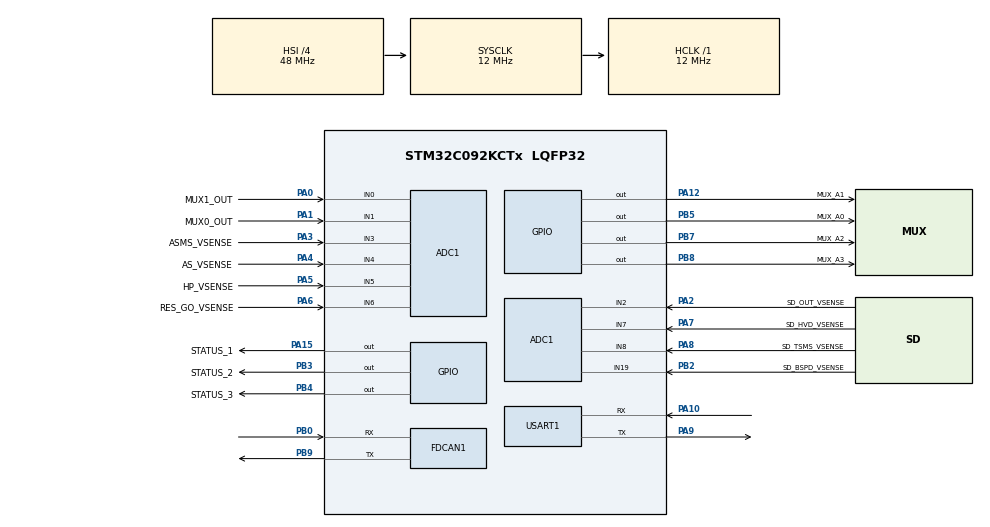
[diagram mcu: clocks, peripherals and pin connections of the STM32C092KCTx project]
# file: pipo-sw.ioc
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ADC1.ContinuousConvMode=DISABLE
ADC1.DMAContinuousRequests=DISABLE
ADC1.NbrOfConversionFlag=0
ADC1.OversamplingMode=ENABLE
ADC1.Ratio=ADC_OVERSAMPLING_RATIO_8
ADC1.RightBitShift=ADC_RIGHTBITSHIFT_3
ADC1.SamplingTimeCommon1=ADC_SAMPLETIME_7CYCLES_5
ADC1.SelectedChannel=ADC_CHANNEL_0|ADC_CHANNEL_1|ADC_CHANNEL_2|ADC_CHANNEL_3|ADC_CHANNEL_4|ADC_CHANNEL_5|ADC_CHANNEL_6|ADC_CHANNEL_7|ADC_CHANNEL_8|ADC_CHANNEL_19
ADC1.master=1
Dma.ADC1.0.Direction=DMA_PERIPH_TO_MEMORY
Dma.ADC1.0.EventEnable=DISABLE
Dma.ADC1.0.Instance=DMA1_Channel1
Dma.ADC1.0.MemDataAlignment=DMA_MDATAALIGN_HALFWORD
Dma.ADC1.0.MemInc=DMA_MINC_ENABLE
Dma.ADC1.0.Mode=DMA_CIRCULAR
Dma.ADC1.0.PeriphDataAlignment=DMA_PDATAALIGN_HALFWORD
Dma.ADC1.0.PeriphInc=DMA_PINC_DISABLE
Dma.ADC1.0.Polarity=HAL_DMAMUX_REQ_GEN_RISING
Dma.ADC1.0.Priority=DMA_PRIORITY_LOW
Dma.ADC1.0.RequestNumber=1
Dma.ADC1.0.SignalID=NONE
Dma.ADC1.0.SyncEnable=DISABLE
Dma.ADC1.0.SyncPolarity=HAL_DMAMUX_SYNC_NO_EVENT
Dma.ADC1.0.SyncRequestNumber=1
Dma.ADC1.0.SyncSignalID=NONE
Dma.Request0=ADC1
FDCAN1.CalculateBaudRateNominal=250000
FDCAN1.CalculateTimeBitNominal=4000
FDCAN1.CalculateTimeQuantumNominal=1333.3333333333333
Mcu.Family=STM32C0
Mcu.Name=STM32C092KCTx
Mcu.Package=LQFP32
NVIC.DMA1_Channel1_IRQn=true\:0\:0\:false\:false\:true\:false\:true\:true
NVIC.TIM1_BRK_UP_TRG_COM_IRQn=true\:0\:0\:false\:false\:true\:true\:true\:true
PA0.GPIO_Label=MUX1_OUT
PA0.Mode=IN0
PA0.Signal=ADC1_IN0
PA1.GPIO_Label=MUX0_OUT
PA1.Mode=IN1
PA1.Signal=ADC1_IN1
PA10.Mode=Asynchronous
PA10.Signal=USART1_RX
PA12\ [PA10].GPIO_Label=MUX_A1
PA12\ [PA10].Signal=GPIO_Output
PA13.Mode=Serial_Wire
PA13.Signal=DEBUG_SWDIO
PA14-BOOT0.Mode=Serial_Wire
PA14-BOOT0.Signal=DEBUG_SWCLK
PA15.GPIO_Label=STATUS_1
PA15.Signal=GPIO_Output
PA2.GPIO_Label=SD_OUT_VSENSE
PA2.Mode=IN2
PA2.Signal=ADC1_IN2
PA3.GPIO_Label=ASMS_VSENSE
PA3.Mode=IN3
PA3.Signal=ADC1_IN3
PA4.GPIO_Label=AS_VSENSE
PA4.Mode=IN4
PA4.Signal=ADC1_IN4
PA5.GPIO_Label=HP_VSENSE
PA5.Mode=IN5
PA5.Signal=ADC1_IN5
PA6.GPIO_Label=RES_GO_VSENSE
PA6.Mode=IN6
PA6.Signal=ADC1_IN6
PA7.GPIO_Label=SD_HVD_VSENSE
PA7.Mode=IN7
PA7.Signal=ADC1_IN7
PA8.GPIO_Label=SD_TSMS_VSENSE
PA8.Mode=IN8
PA8.Signal=ADC1_IN8
PA9.Mode=Asynchronous
PA9.Signal=USART1_TX
PB0.Mode=FDCAN_Activate
PB0.Signal=FDCAN1_RX
PB2.GPIO_Label=SD_BSPD_VSENSE
PB2.Mode=IN19
PB2.Signal=ADC1_IN19
PB3.GPIO_Label=STATUS_2
PB3.Signal=GPIO_Output
PB4.GPIO_Label=STATUS_3
PB4.Signal=GPIO_Output
PB5.GPIO_Label=MUX_A0
PB5.Signal=GPIO_Output
PB7.GPIO_Label=MUX_A2
PB7.Signal=GPIO_Output
PB8.GPIO_Label=MUX_A3
PB8.Signal=GPIO_Output
PB9.Mode=FDCAN_Activate
PB9.Signal=FDCAN1_TX
PC14-OSCX_IN(PC14).Mode=HSE-External-Oscillator
PC14-OSCX_IN(PC14).Signal=RCC_OSCX_IN
PC15-OSCX_OUT(PC15).Mode=HSE-External-Oscillator
PC15-OSCX_OUT(PC15).Signal=RCC_OSCX_OUT
ProjectManager.HeapSize=0x200
ProjectManager.StackSize=0x400
ProjectManager.TargetToolchain=Makefile
RCC.ADCFreq_Value=12000000
RCC.AHBFreq_Value=12000000
RCC.CortexFreq_Value=12000000
RCC.EXTERNAL_CLOCK_VALUE=12288000
RCC.HCLKFreq_Value=12000000
RCC.HSE_VALUE=8000000
RCC.HSI_VALUE=48000000
RCC.LSE_VALUE=32768
RCC.SYSCLKFreq_VALUE=12000000
TIM1.Period=1
TIM1.Prescaler=5999
USART1.VirtualMode-Asynchronous=VM_ASYNC
VP_TIM1_VS_ClockSourceINT.Mode=Internal
board=custom

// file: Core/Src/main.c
/* USER CODE BEGIN Header */
/**
  ******************************************************************************
  * @file           : main.c
  * @brief          : Main program body
  ******************************************************************************
  * @attention
  *
  * Copyright (c) 2026 STMicroelectronics.
  * All rights reserved.
  *
  * This software is licensed under terms that can be found in the LICENSE file
  * in the root directory of this software component.
  * If no LICENSE file comes with this software, it is provided AS-IS.
  *
  ******************************************************************************
  */
/* USER CODE END Header */
#include "main.h"
#include "adc.h"
#include "dma.h"
#include "fdcan.h"
#include "tim.h"
#include "usart.h"
#include "gpio.h"

/* USER CODE BEGIN Includes */

#include "post-api.h"
#include "scheduler-api.h"
#include "logging-api.h"
#include "eagletrt.h"
#include "can-communication.h"
#include "can-communication-router-api.h"

/* USER CODE END Includes */

void SystemClock_Config(void);

/* USER CODE BEGIN 0 */

static void VectorBase_Config(void) {
    /* The constant array with vectors of the vector table is declared externally in the
  * c-startup code.
  */
    extern const unsigned long g_pfnVectors[];

    /* Remap the vector table to where the vector table is located for this program. */
    SCB->VTOR = (unsigned long)&g_pfnVectors[0];
}

EAGLETRT_STATIC void prv_watchdog_callback(void) {
    // TODO: Add watchdog timeout handling.
}

/* USER CODE END 0 */

int main(void) {

    /* USER CODE BEGIN 1 */
    VectorBase_Config();
    /* USER CODE END 1 */

    /* MCU Configuration--------------------------------------------------------*/

    /* Reset of all peripherals, Initializes the Flash interface and the Systick. */
    HAL_Init();

    /* Configure the system clock */
    SystemClock_Config();

    /* USER CODE BEGIN SysInit */

    struct PostInitData init_data = {
        .can_networks = {
            [CAN_COMMUNICATION_NETWORK_PRIMARY] = {
                .send = fdcan_send_primary,
                .on_receive = can_communication_router_api_receive_primary,
                .cs_enter = __disable_irq,
                .cs_exit = __enable_irq,
            } },
        .led_write = led_write_bitmap,
        .read_voltages = adc_signals_start_conversion,
        .mux_set = mux_set_address,
        .timebase_ms_resolution = 1,
        .watchdog_callback = prv_watchdog_callback
    };

    /* USER CODE END SysInit */

    /* Initialize all configured peripherals */
    MX_GPIO_Init();
    MX_DMA_Init();
    MX_ADC1_Init();
    MX_FDCAN1_Init();
    MX_USART1_UART_Init();
    MX_TIM1_Init();
    /* USER CODE BEGIN 2 */

    HAL_ADCEx_Calibration_Start(&hadc1);

    logging_api_init(usart_log);

    post_api_run(&init_data);

    HAL_TIM_Base_Start_IT(&htim1);

    /* USER CODE END 2 */

    /* Infinite loop */
    /* USER CODE BEGIN WHILE */
    while (1) {

        scheduler_api_routine();

        /* USER CODE END WHILE */

    }
}

void SystemClock_Config(void) {
    RCC_OscInitTypeDef RCC_OscInitStruct = { 0 };
    RCC_ClkInitTypeDef RCC_ClkInitStruct = { 0 };

    __HAL_FLASH_SET_LATENCY(FLASH_LATENCY_0);

    /** Initializes the RCC Oscillators according to the specified parameters
  * in the RCC_OscInitTypeDef structure.
  */
    RCC_OscInitStruct.OscillatorType = RCC_OSCILLATORTYPE_HSI;
    RCC_OscInitStruct.HSIState = RCC_HSI_ON;
    RCC_OscInitStruct.HSIDiv = RCC_HSI_DIV4;
    RCC_OscInitStruct.HSICalibrationValue = RCC_HSICALIBRATION_DEFAULT;
    if (HAL_RCC_OscConfig(&RCC_OscInitStruct) != HAL_OK) {
        Error_Handler();
    }

    /** Initializes the CPU, AHB and APB buses clocks
  */
    RCC_ClkInitStruct.ClockType = RCC_CLOCKTYPE_HCLK | RCC_CLOCKTYPE_SYSCLK | RCC_CLOCKTYPE_PCLK1;
    RCC_ClkInitStruct.SYSCLKSource = RCC_SYSCLKSOURCE_HSI;
    RCC_ClkInitStruct.SYSCLKDivider = RCC_SYSCLK_DIV1;
    RCC_ClkInitStruct.AHBCLKDivider = RCC_HCLK_DIV1;
    RCC_ClkInitStruct.APB1CLKDivider = RCC_APB1_DIV1;

    if (HAL_RCC_ClockConfig(&RCC_ClkInitStruct, FLASH_LATENCY_0) != HAL_OK) {
        Error_Handler();
    }
}

void Error_Handler(void) {
    __disable_irq();
    while (1) {
    }
}
